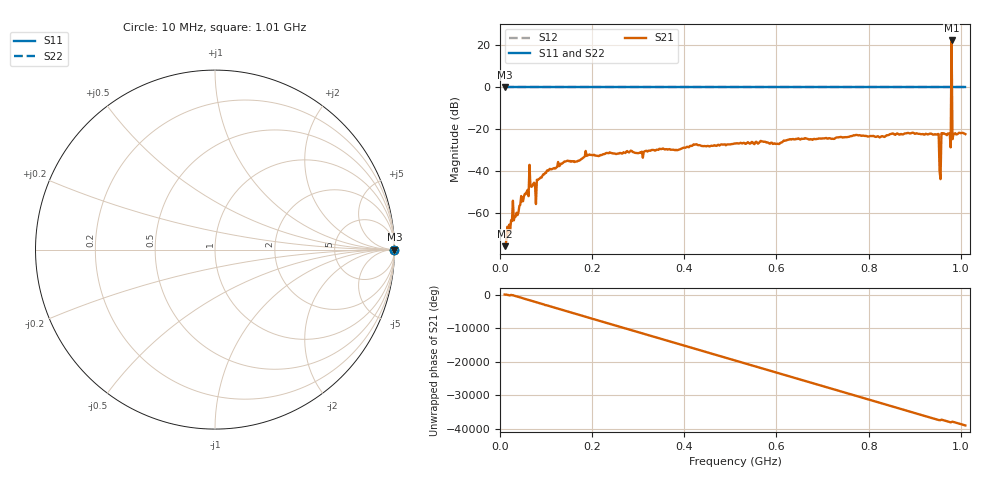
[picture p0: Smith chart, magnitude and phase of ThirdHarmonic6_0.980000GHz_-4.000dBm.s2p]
! 8/16/2025 7:34:35 AM
! C:\ANRITSUVNA\TEMP\TEMP.S2P
! CHANNEL.1
! TR.MEASUREMENT
! RAW.DATA
! RF.CORRECTION.OFF
! AVERAGING.OFF
! IF.BANDWIDTH: 5KHZ
! SWEEPTYPE:  FREQ.SWEEP(Linear)
! Reference Plane Port Info
! PORT:  PORT1  PORT2
! DISTANCE:  0  m  0  m
! TIME:  0  s  0  s
! PHASE.OFFSET:  0  deg.  0  deg.
! LOSS:  0  dB  0  dB
! REF.LOSS:  0  dB  0  dB
! REF.FREQ:  0  Hz  0  Hz
! Power Info
! POWER:  -20  dBm  -20  dBm
! EFF.POWER:  -20  dBm  -20  dBm
! SOURCE.ATTEN:  0  dB  0  dB
! TEST.ATTEN:  0  dB  0  dB
# GHZ S RI R 50.0
! FREQ.GHZ  S11RE  S11IM  S21RE  S21IM  S12RE  S12IM  S22RE  S22IM
!; PortSelection: Port_12
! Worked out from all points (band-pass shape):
!   501 points, 10 MHz to 1.01 GHz, reference 50 ohm
!   highest |S21| = 22.13 dB at 980 MHz (marker M1); lowest = -76.0 dB at 10 MHz (marker M2)
!   |S21| within 3 dB of the highest: 979.8823 MHz to 980.1275 MHz (245.1 kHz wide, 0.025 % of centre)
!   lowest |S11| = 0.0 dB at 10 MHz (marker M3)
!   |S11| at or under -10 dB: nowhere
!   |S22| runs from 0.0 to 0.0 dB; largest |S21 - S12| = 14
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0.01  1 0  0.000145 6.53e-05  1 0  1 0
0.024  1 0  0.000231 -0.000614  1 0  1 0
0.036  1 0  -0.000934 -0.000345  1 0  1 0
0.068  1 0  0.0036 -0.00207  1 0  1 0
0.074  1 0  0.000657 0.00513  1 0  1 0
0.106  1 0  -0.0074 -0.00735  1 0  1 0
0.178  1 0  -0.0187 -0.00516  1 0  1 0
0.19  1 0  0.00889 0.022  1 0  1 0
0.344  1 0  0.0312 -0.00465  1 0  1 0
0.51  1 0  -0.0433 0.0113  1 0  1 0
0.678  1 0  -0.0152 -0.0524  1 0  1 0
0.844  1 0  0.0356 0.0622  1 0  1 0
0.948  1 0  -0.0726 -0.0111  1 0  1 0
0.952  1 0  0.0665 0.0347  1 0  1 0
0.958  1 0  -0.0658 0.043  1 0  1 0
0.962  1 0  0.0761 -0.0186  1 0  1 0
0.974  1 0  -0.0569 -0.0509  1 0  1 0
0.976  1 0  -0.0619 0.0474  1 0  1 0
0.98  1 0  -10.1 7.839  1 0  1 0
0.984  1 0  -0.0747 0.00207  1 0  1 0
0.986  1 0  -0.0127 0.0744  1 0  1 0
1.01  1 0  -0.0649 -0.0365  1 0  1 0
